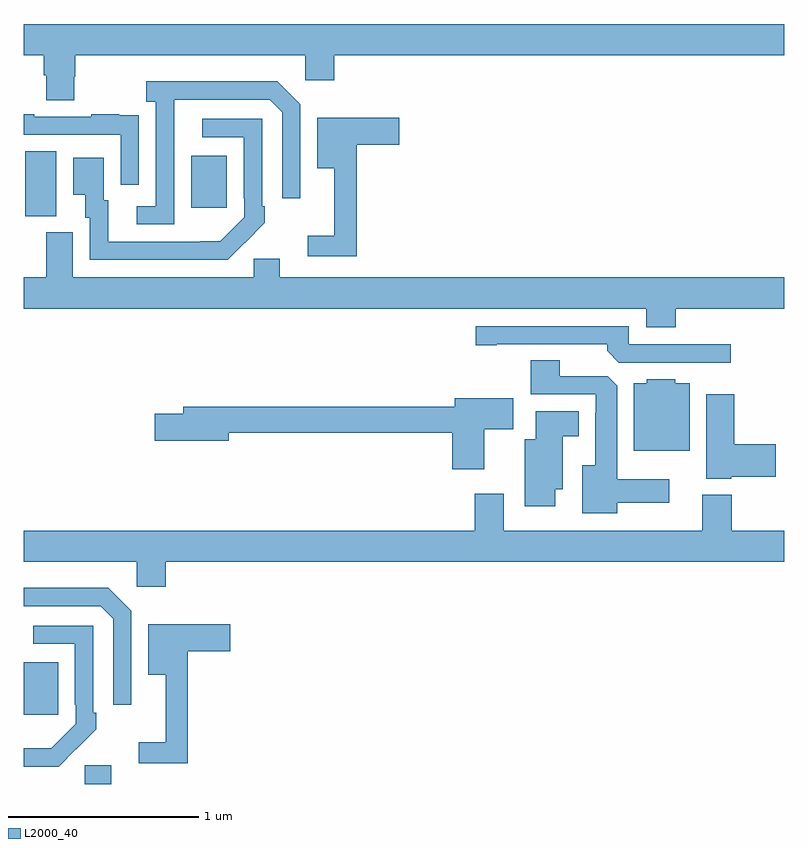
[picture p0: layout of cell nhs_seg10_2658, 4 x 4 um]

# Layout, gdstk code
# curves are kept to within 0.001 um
import gdstk
lib = gdstk.Library(unit=1e-6, precision=1e-09)
def R(c, l, rs):  # rectangles x0, y0, x1, y1
    for r in rs: c.add(gdstk.rectangle(r[:2], r[2:], *l))
def P(c, l, *ps):  # polygons
    for p in ps: c.add(gdstk.Polygon(p, *l))
L2000_40 = (2000, 40)

nhs_seg10_2658 = lib.new_cell('nhs_seg10_2658')
R(nhs_seg10_2658, L2000_40, [(255.321,1280.5,255.46,1280.598), (255,1280.865,255.181,1281.139), (255.008,1283.485,255.172,1283.828), (255.881,1283.529,256.069,1283.803)])
P(nhs_seg10_2658, L2000_40, [(255.267,1284.219),(255.272,1284.219),(255.272,1284.332),(256.482,1284.332),(256.482,1284.201),(256.634,1284.201),(256.634,1284.332),(259,1284.332),(259,1284.496),(255,1284.496),(255,1284.332),(255.107,1284.332),(255.107,1284.226),(255.119,1284.226),(255.119,1284.094),(255.267,1284.094)],
  [(255.792,1283.899),(255.793,1284.099),(256.293,1284.099),(256.359,1284.033),(256.359,1283.58),(256.455,1283.58),(256.455,1284.075),(256.334,1284.196),(255.645,1284.196),(255.645,1284.086),(255.696,1284.086),(255.696,1283.538),(255.594,1283.538),(255.594,1283.442),(255.792,1283.442)],
  [(255.606,1283.906),(255.605,1283.906),(255.605,1284.015),(255.503,1284.015),(255.503,1284.022),(255.355,1284.022),(255.355,1284.009),(255.055,1284.009),(255.055,1284.022),(255,1284.022),(255,1283.913),(255.51,1283.913),(255.51,1283.652),(255.606,1283.652)],
  [(256.751,1283.861),(256.975,1283.861),(256.975,1284.003),(256.544,1284.003),(256.544,1283.738),(256.634,1283.738),(256.634,1283.383),(256.494,1283.383),(256.494,1283.274),(256.751,1283.274)],
  [(256.163,1283.347),(256.164,1283.346),(256.269,1283.451),(256.269,1283.539),(256.254,1283.539),(256.254,1283.997),(255.939,1283.997),(255.939,1283.901),(256.158,1283.901),(256.158,1283.581),(256.161,1283.581),(256.161,1283.481),(256.033,1283.353),(255.445,1283.352),(255.445,1283.568),(255.421,1283.568),(255.421,1283.794),(255.26,1283.794),(255.26,1283.597),(255.323,1283.597),(255.323,1283.478),(255.348,1283.478),(255.348,1283.256),(256.072,1283.256)],
  [(258.428,1283),(259,1283),(259,1283.164),(256.348,1283.164),(256.348,1283.262),(256.209,1283.262),(256.209,1283.164),(255.259,1283.164),(255.259,1283.4),(255.119,1283.4),(255.119,1283.164),(255,1283.164),(255,1283),(258.275,1283),(258.275,1282.901),(258.428,1282.901)],
  [(258.718,1282.812),(258.183,1282.812),(258.183,1282.908),(257.376,1282.908),(257.376,1282.807),(257.488,1282.807),(257.488,1282.812),(258.068,1282.812),(258.068,1282.778),(258.129,1282.716),(258.718,1282.716)],
  [(258.121,1281.98),(258.394,1281.98),(258.394,1282.102),(258.121,1282.102),(258.121,1282.595),(258.072,1282.644),(257.818,1282.644),(257.818,1282.727),(257.666,1282.727),(257.666,1282.548),(258.009,1282.548),(258.009,1282.451),(258.005,1282.451),(258.005,1282.177),(257.936,1282.177),(257.936,1281.923),(258.121,1281.923)],
  [(258.502,1282.606),(258.426,1282.606),(258.426,1282.627),(258.276,1282.627),(258.276,1282.606),(258.209,1282.606),(258.209,1282.253),(258.502,1282.253)],
  [(258.72,1282.115),(258.955,1282.115),(258.955,1282.286),(258.737,1282.286),(258.737,1282.549),(258.59,1282.549),(258.59,1282.106),(258.72,1282.106)],
  [(257.422,1282.366),(257.575,1282.366),(257.575,1282.528),(257.267,1282.528),(257.267,1282.484),(255.839,1282.484),(255.839,1282.448),(255.69,1282.448),(255.69,1282.306),(256.078,1282.306),(256.078,1282.348),(257.255,1282.348),(257.255,1282.155),(257.422,1282.155)],
  [(257.794,1282.049),(257.836,1282.049),(257.836,1282.328),(257.92,1282.328),(257.92,1282.459),(257.693,1282.459),(257.693,1282.312),(257.636,1282.312),(257.636,1281.96),(257.794,1281.96)],
  [(259,1281.832),(258.722,1281.832),(258.722,1282.021),(258.569,1282.021),(258.569,1281.832),(257.524,1281.832),(257.524,1282.027),(257.372,1282.027),(257.372,1281.832),(255,1281.832),(255,1281.668),(255.594,1281.668),(255.594,1281.537),(255.746,1281.537),(255.746,1281.668),(259,1281.668)],
  [(255.567,1281.411),(255.446,1281.532),(255,1281.532),(255,1281.435),(255.405,1281.435),(255.471,1281.369),(255.471,1280.916),(255.567,1280.916)],
  [(255.863,1281.197),(256.087,1281.197),(256.087,1281.339),(255.656,1281.339),(255.656,1281.074),(255.746,1281.074),(255.746,1280.719),(255.606,1280.719),(255.606,1280.61),(255.863,1280.61)],
  [(255.275,1280.683),(255.276,1280.682),(255.381,1280.787),(255.381,1280.875),(255.366,1280.875),(255.366,1281.333),(255.051,1281.333),(255.051,1281.237),(255.27,1281.237),(255.27,1280.917),(255.273,1280.917),(255.273,1280.817),(255.145,1280.689),(255,1280.688),(255,1280.592),(255.184,1280.592)])

lib.write_gds('nhs_seg10_2658.gds')
